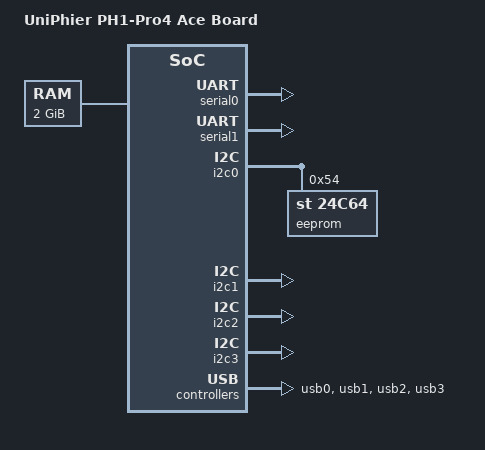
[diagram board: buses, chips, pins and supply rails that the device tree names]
// SPDX-License-Identifier: GPL-2.0+ OR MIT
//
// Device Tree Source for UniPhier PH1-Pro4 Ace Board
//
// Copyright (C) 2016 Socionext Inc.
//   Author: Masahiro Yamada <yamada.masahiro@socionext.com>

/dts-v1/;
#include "uniphier-ph1-pro4.dtsi"
#include "uniphier-support-card.dtsi"

/ {
	model = "UniPhier PH1-Pro4 Ace Board";
	compatible = "socionext,ph1-pro4-ace", "socionext,ph1-pro4";

	memory {
		device_type = "memory";
		reg = <0x80000000 0x80000000>;
	};

	chosen {
		stdout-path = "serial0:115200n8";
	};

	aliases {
		serial0 = &serial0;
		serial1 = &serial1;
		serial2 = &serialsc;
		i2c0 = &i2c0;
		i2c1 = &i2c1;
		i2c2 = &i2c2;
		i2c3 = &i2c3;
		i2c5 = &i2c5;
		i2c6 = &i2c6;
	};
};

&ethsc {
	interrupts = <2 8>;
};

&serialsc {
	interrupts = <2 8>;
};

&serial0 {
	status = "okay";
};

&serial1 {
	status = "okay";
};

&i2c0 {
	status = "okay";

	eeprom@54 {
		compatible = "st,24c64";
		reg = <0x54>;
	};
};

&i2c1 {
	status = "okay";
};

&i2c2 {
	status = "okay";
};

&i2c3 {
	status = "okay";
};

&usb0 {
	status = "okay";
};

&usb1 {
	status = "okay";
};

&usb2 {
	status = "okay";
};

&usb3 {
	status = "okay";
};
